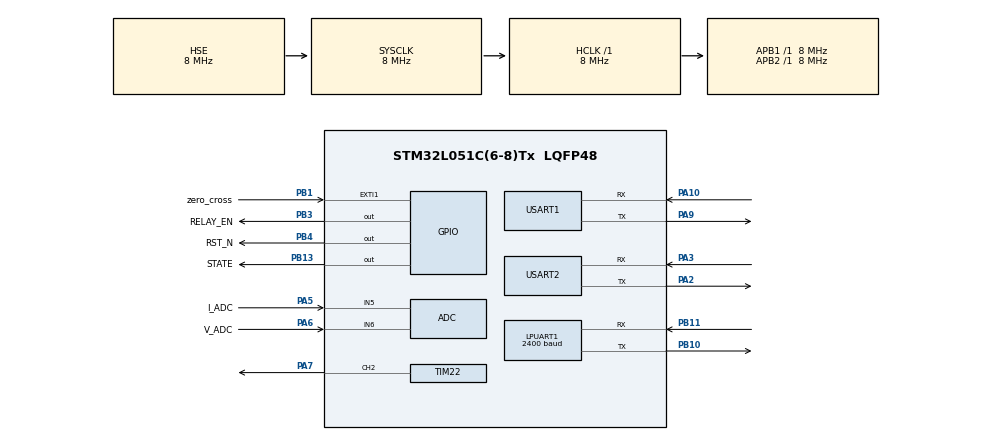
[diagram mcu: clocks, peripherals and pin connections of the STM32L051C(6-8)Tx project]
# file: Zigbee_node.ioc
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ADC.SamplingTime=ADC_SAMPLETIME_7CYCLES_5
Dma.ADC.2.Direction=DMA_PERIPH_TO_MEMORY
Dma.ADC.2.Instance=DMA1_Channel1
Dma.ADC.2.MemDataAlignment=DMA_MDATAALIGN_HALFWORD
Dma.ADC.2.MemInc=DMA_MINC_ENABLE
Dma.ADC.2.Mode=DMA_NORMAL
Dma.ADC.2.PeriphDataAlignment=DMA_PDATAALIGN_HALFWORD
Dma.ADC.2.PeriphInc=DMA_PINC_DISABLE
Dma.ADC.2.Priority=DMA_PRIORITY_LOW
Dma.Request0=USART1_RX
Dma.Request1=USART1_TX
Dma.Request2=ADC
Dma.USART1_RX.0.Direction=DMA_PERIPH_TO_MEMORY
Dma.USART1_RX.0.Instance=DMA1_Channel3
Dma.USART1_RX.0.MemDataAlignment=DMA_MDATAALIGN_BYTE
Dma.USART1_RX.0.MemInc=DMA_MINC_ENABLE
Dma.USART1_RX.0.Mode=DMA_NORMAL
Dma.USART1_RX.0.PeriphDataAlignment=DMA_PDATAALIGN_BYTE
Dma.USART1_RX.0.PeriphInc=DMA_PINC_DISABLE
Dma.USART1_RX.0.Priority=DMA_PRIORITY_LOW
Dma.USART1_TX.1.Direction=DMA_MEMORY_TO_PERIPH
Dma.USART1_TX.1.Instance=DMA1_Channel2
Dma.USART1_TX.1.MemDataAlignment=DMA_MDATAALIGN_BYTE
Dma.USART1_TX.1.MemInc=DMA_MINC_ENABLE
Dma.USART1_TX.1.Mode=DMA_NORMAL
Dma.USART1_TX.1.PeriphDataAlignment=DMA_PDATAALIGN_BYTE
Dma.USART1_TX.1.PeriphInc=DMA_PINC_DISABLE
Dma.USART1_TX.1.Priority=DMA_PRIORITY_LOW
LPUART1.BaudRate=2400
LPUART1.Parity=UART_PARITY_ODD
LPUART1.WordLength=UART_WORDLENGTH_9B
Mcu.Family=STM32L0
Mcu.Name=STM32L051C(6-8)Tx
Mcu.Package=LQFP48
NVIC.DMA1_Channel1_IRQn=true\:0\:0\:false\:false\:true\:false
NVIC.DMA1_Channel2_3_IRQn=true\:0\:0\:false\:false\:true\:false
NVIC.EXTI0_1_IRQn=true\:0\:0\:false\:false\:true\:true
NVIC.LPUART1_IRQn=true\:0\:0\:false\:false\:true\:true
NVIC.USART1_IRQn=true\:0\:0\:false\:false\:true\:true
NVIC.USART2_IRQn=true\:0\:0\:false\:false\:true\:true
PA10.Mode=Asynchronous
PA10.Signal=USART1_RX
PA13.Mode=Serial_Wire
PA13.Signal=SYS_SWDIO
PA14.Mode=Serial_Wire
PA14.Signal=SYS_SWCLK
PA2.GPIO_PuPd=GPIO_PULLUP
PA2.Mode=Asynchronous
PA2.Signal=USART2_TX
PA3.GPIO_PuPd=GPIO_PULLUP
PA3.Mode=Asynchronous
PA3.Signal=USART2_RX
PA5.GPIO_Label=I_ADC
PA5.Mode=IN5
PA5.Signal=ADC_IN5
PA6.GPIO_Label=V_ADC
PA6.Mode=IN6
PA6.Signal=ADC_IN6
PA7.Signal=S_TIM22_CH2
PA9.Mode=Asynchronous
PA9.Signal=USART1_TX
PB1.GPIO_Label=zero_cross
PB1.GPIO_ModeDefaultEXTI=GPIO_MODE_IT_FALLING
PB1.Signal=GPXTI1
PB10.GPIO_PuPd=GPIO_NOPULL
PB10.Mode=Asynchronous
PB10.Signal=LPUART1_TX
PB11.GPIO_PuPd=GPIO_NOPULL
PB11.Mode=Asynchronous
PB11.Signal=LPUART1_RX
PB13.GPIO_Label=STATE
PB13.PinState=GPIO_PIN_SET
PB13.Signal=GPIO_Output
PB3.GPIO_Label=RELAY_EN
PB3.Signal=GPIO_Output
PB4.GPIO_Label=RST_N
PB4.Signal=GPIO_Output
PH0-OSC_IN.Mode=HSE-External-Oscillator
PH0-OSC_IN.Signal=RCC_OSC_IN
PH1-OSC_OUT.Mode=HSE-External-Oscillator
PH1-OSC_OUT.Signal=RCC_OSC_OUT
ProjectManager.HeapSize=0x200
ProjectManager.StackSize=0x400
ProjectManager.TargetToolchain=EWARM V8
RCC.AHBFreq_Value=8000000
RCC.APB1Freq_Value=8000000
RCC.APB1TimFreq_Value=8000000
RCC.APB2Freq_Value=8000000
RCC.APB2TimFreq_Value=8000000
RCC.HCLKFreq_Value=8000000
RCC.HSE_VALUE=8000000
RCC.HSI16_VALUE=16000000
RCC.HSI_VALUE=16000000
RCC.LSE_VALUE=32768
RCC.MSI_VALUE=2097000
RCC.SYSCLKFreq_VALUE=8000000
RCC.SYSCLKSource=RCC_SYSCLKSOURCE_HSE
RCC.VCOOutputFreq_Value=48000000
RTC.Date=18
RTC.Month=RTC_MONTH_SEPTEMBER
RTC.WeekDay=RTC_WEEKDAY_WEDNESDAY
RTC.Year=19
SH.S_TIM22_CH2.0=TIM22_CH2,PWM Generation2 CH2
TIM22.Channel-PWM\ Generation2\ CH2=TIM_CHANNEL_2
TIM22.Period=100-1
TIM22.Prescaler=8-1
TIM22.Pulse-PWM\ Generation2\ CH2=50-1
TIM6.Period=1000-1
TIM6.Prescaler=8000-1
USART1.VirtualMode-Asynchronous=VM_ASYNC
USART2.VirtualMode-Asynchronous=VM_ASYNC
VP_IWDG_VS_IWDG.Mode=IWDG_Activate
VP_RTC_VS_RTC_Activate.Mode=RTC_Enabled
VP_RTC_VS_RTC_Calendar.Mode=RTC_Calendar
VP_TIM6_VS_ClockSourceINT.Mode=Enable_Timer
board=custom

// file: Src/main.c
/* USER CODE BEGIN Header */
/**
  ******************************************************************************
  * @file           : main.c
  * @brief          : Main program body
  ******************************************************************************
  ** This notice applies to any and all portions of this file
  * that are not between comment pairs USER CODE BEGIN and
  * USER CODE END. Other portions of this file, whether
  * inserted by the user or by software development tools
  * are owned by their respective copyright owners.
  *
  * COPYRIGHT(c) 2019 STMicroelectronics
  *
  * Redistribution and use in source and binary forms, with or without modification,
  * are permitted provided that the following conditions are met:
  *   1. Redistributions of source code must retain the above copyright notice,
  *      this list of conditions and the following disclaimer.
  *   2. Redistributions in binary form must reproduce the above copyright notice,
  *      this list of conditions and the following disclaimer in the documentation
  *      and/or other materials provided with the distribution.
  *   3. Neither the name of STMicroelectronics nor the names of its contributors
  *      may be used to endorse or promote products derived from this software
  *      without specific prior written permission.
  *
  * THIS SOFTWARE IS PROVIDED BY THE COPYRIGHT HOLDERS AND CONTRIBUTORS "AS IS"
  * AND ANY EXPRESS OR IMPLIED WARRANTIES, INCLUDING, BUT NOT LIMITED TO, THE
  * IMPLIED WARRANTIES OF MERCHANTABILITY AND FITNESS FOR A PARTICULAR PURPOSE ARE
  * DISCLAIMED. IN NO EVENT SHALL THE COPYRIGHT HOLDER OR CONTRIBUTORS BE LIABLE
  * FOR ANY DIRECT, INDIRECT, INCIDENTAL, SPECIAL, EXEMPLARY, OR CONSEQUENTIAL
  * DAMAGES (INCLUDING, BUT NOT LIMITED TO, PROCUREMENT OF SUBSTITUTE GOODS OR
  * SERVICES; LOSS OF USE, DATA, OR PROFITS; OR BUSINESS INTERRUPTION) HOWEVER
  * CAUSED AND ON ANY THEORY OF LIABILITY, WHETHER IN CONTRACT, STRICT LIABILITY,
  * OR TORT (INCLUDING NEGLIGENCE OR OTHERWISE) ARISING IN ANY WAY OUT OF THE USE
  * OF THIS SOFTWARE, EVEN IF ADVISED OF THE POSSIBILITY OF SUCH DAMAGE.
  *
  ******************************************************************************
  */
/* USER CODE END Header */

#include "main.h"
#include "adc.h"
#include "dma.h"
#include "usart.h"
#include "rtc.h"
#include "tim.h"
#include "gpio.h"

/* USER CODE BEGIN Includes */
#include "service_DA.h"
#include "service_Data.h"
#include "service_Mesh.h"
#include "service_Shell.h"
#include "packet.h"
#include "flash.h"
#include "flash_table.h"
#include "log.h"

/* USER CODE END Includes */

/* USER CODE BEGIN PV */
zigbee_load_t zigbee_load = {0};
/* USER CODE END PV */

void SystemClock_Config(void);
/* USER CODE BEGIN PFP */
static void sys_init(void);
static void service_init(void);
/* USER CODE END PFP */

int main(void)
{

  /* MCU Configuration--------------------------------------------------------*/

  /* Reset of all peripherals, Initializes the Flash interface and the Systick. */
  HAL_Init();

  /* Configure the system clock */
  SystemClock_Config();

  /* Initialize all configured peripherals */
  MX_GPIO_Init();
  MX_DMA_Init();
  MX_USART2_UART_Init();
  MX_TIM6_Init();
  MX_USART1_UART_Init();
  MX_RTC_Init();
  MX_ADC_Init();
  MX_TIM22_Init();
  MX_LPUART1_UART_Init();
  /* USER CODE BEGIN 2 */

  //初始化
  sys_init();
  //service初始化
  service_init();
  /* USER CODE END 2 */

  /* Infinite loop */
  while (1)
  {

    /* USER CODE BEGIN 3 */
    //调试串口服务
    service_Shell();
    //自组网（退网）等与模块配置相关的 服务
    service_Mesh();
    //数据组包解包 发送服务
    service_Data();
    //数据采集服务
    service_DA();

    //看门狗
    //HAL_IWDG_Refresh(&hiwdg);
  }
  /* USER CODE END 3 */
}

void SystemClock_Config(void)
{
  RCC_OscInitTypeDef RCC_OscInitStruct = {0};
  RCC_ClkInitTypeDef RCC_ClkInitStruct = {0};
  RCC_PeriphCLKInitTypeDef PeriphClkInit = {0};

  /**Configure the main internal regulator output voltage
  */
  __HAL_PWR_VOLTAGESCALING_CONFIG(PWR_REGULATOR_VOLTAGE_SCALE1);
  /**Initializes the CPU, AHB and APB busses clocks
  */
  RCC_OscInitStruct.OscillatorType = RCC_OSCILLATORTYPE_LSI|RCC_OSCILLATORTYPE_HSE;
  RCC_OscInitStruct.HSEState = RCC_HSE_ON;
  RCC_OscInitStruct.LSIState = RCC_LSI_ON;
  RCC_OscInitStruct.PLL.PLLState = RCC_PLL_NONE;
  if (HAL_RCC_OscConfig(&RCC_OscInitStruct) != HAL_OK)
  {
    Error_Handler();
  }
  /**Initializes the CPU, AHB and APB busses clocks
  */
  RCC_ClkInitStruct.ClockType = RCC_CLOCKTYPE_HCLK|RCC_CLOCKTYPE_SYSCLK
                              |RCC_CLOCKTYPE_PCLK1|RCC_CLOCKTYPE_PCLK2;
  RCC_ClkInitStruct.SYSCLKSource = RCC_SYSCLKSOURCE_HSE;
  RCC_ClkInitStruct.AHBCLKDivider = RCC_SYSCLK_DIV1;
  RCC_ClkInitStruct.APB1CLKDivider = RCC_HCLK_DIV1;
  RCC_ClkInitStruct.APB2CLKDivider = RCC_HCLK_DIV1;

  if (HAL_RCC_ClockConfig(&RCC_ClkInitStruct, FLASH_LATENCY_0) != HAL_OK)
  {
    Error_Handler();
  }
  PeriphClkInit.PeriphClockSelection = RCC_PERIPHCLK_USART1|RCC_PERIPHCLK_USART2
                              |RCC_PERIPHCLK_LPUART1|RCC_PERIPHCLK_RTC;
  PeriphClkInit.Usart1ClockSelection = RCC_USART1CLKSOURCE_PCLK2;
  PeriphClkInit.Usart2ClockSelection = RCC_USART2CLKSOURCE_PCLK1;
  PeriphClkInit.Lpuart1ClockSelection = RCC_LPUART1CLKSOURCE_PCLK1;
  PeriphClkInit.RTCClockSelection = RCC_RTCCLKSOURCE_LSI;
  if (HAL_RCCEx_PeriphCLKConfig(&PeriphClkInit) != HAL_OK)
  {
    Error_Handler();
  }
}

/* USER CODE BEGIN 4 */
/*******************************************************************************
*函数名: flash_init
*说明: 读取掉电保存的参数
*参数: 无
*返回: 无
*其他: 无
*******************************************************************************/
void flash_init(void)
{
  //EEPROM_WriteBytes(0, (uint8_t*)&zigbee_load, sizeof(zigbee_load_t));
  EEPROM_ReadBytes(0, (uint8_t*)&zigbee_load, sizeof(zigbee_load_t));
}

/*******************************************************************************
*函数名: sys_init
*说明: 外设初始化
*参数: 无
*返回: 无
*其他: 无
*******************************************************************************/
static void sys_init(void)
{
  HAL_Init();
  SystemClock_Config();
  MX_GPIO_Init();
  MX_DMA_Init();
  MX_TIM22_Init();
  MX_USART2_UART_Init();
  MX_TIM6_Init();
  MX_ADC_Init();
  MX_USART1_UART_Init();
  MX_LPUART1_UART_Init();
  MX_RTC_Init();
  flash_init();
  set_led_off();
  //MX_IWDG_Init();
}

/*******************************************************************************
*函数名: service_init
*说明: service初始化
*参数: 无
*返回: 无
*其他: 无
*******************************************************************************/
static void service_init(void)
{
    service_Shell_init();
    service_Mesh_init();
    service_Data_init();
    service_DA_init();
}

/* USER CODE END 4 */

void Error_Handler(void)
{
}

/************************ (C) COPYRIGHT STMicroelectronics *****END OF FILE****/
